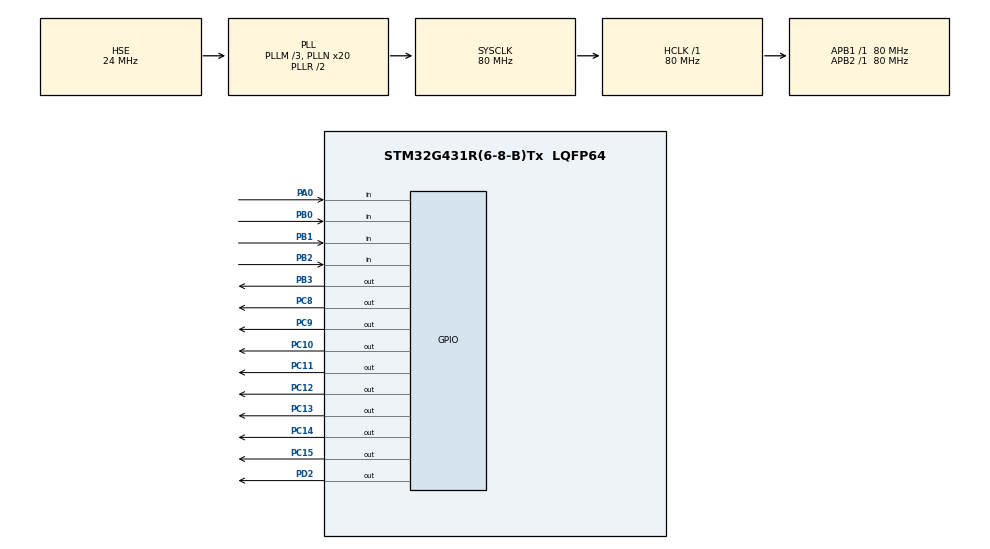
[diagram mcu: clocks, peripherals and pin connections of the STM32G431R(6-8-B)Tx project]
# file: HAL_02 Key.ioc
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Mcu.Family=STM32G4
Mcu.Name=STM32G431R(6-8-B)Tx
Mcu.Package=LQFP64
NVIC.PriorityGroup=NVIC_PRIORITYGROUP_4
PA0.Signal=GPIO_Input
PA13.Mode=Serial_Wire
PA13.Signal=SYS_JTMS-SWDIO
PA14.Mode=Serial_Wire
PA14.Signal=SYS_JTCK-SWCLK
PB0.Signal=GPIO_Input
PB1.Signal=GPIO_Input
PB2.Signal=GPIO_Input
PB3.PinState=GPIO_PIN_SET
PB3.Signal=GPIO_Output
PC10.PinState=GPIO_PIN_SET
PC10.Signal=GPIO_Output
PC11.PinState=GPIO_PIN_SET
PC11.Signal=GPIO_Output
PC12.PinState=GPIO_PIN_SET
PC12.Signal=GPIO_Output
PC13.PinState=GPIO_PIN_SET
PC13.Signal=GPIO_Output
PC14-OSC32_IN.PinState=GPIO_PIN_SET
PC14-OSC32_IN.Signal=GPIO_Output
PC15-OSC32_OUT.PinState=GPIO_PIN_SET
PC15-OSC32_OUT.Signal=GPIO_Output
PC8.PinState=GPIO_PIN_SET
PC8.Signal=GPIO_Output
PC9.PinState=GPIO_PIN_SET
PC9.Signal=GPIO_Output
PD2.Signal=GPIO_Output
PF0-OSC_IN.Mode=HSE-External-Oscillator
PF0-OSC_IN.Signal=RCC_OSC_IN
PF1-OSC_OUT.Mode=HSE-External-Oscillator
PF1-OSC_OUT.Signal=RCC_OSC_OUT
ProjectManager.HeapSize=0x200
ProjectManager.StackSize=0x400
ProjectManager.TargetToolchain=MDK-ARM V5.27
RCC.ADC12Freq_Value=80000000
RCC.AHBFreq_Value=80000000
RCC.APB1Freq_Value=80000000
RCC.APB1TimFreq_Value=80000000
RCC.APB2Freq_Value=80000000
RCC.APB2TimFreq_Value=80000000
RCC.CortexFreq_Value=80000000
RCC.EXTERNAL_CLOCK_VALUE=12288000
RCC.HCLKFreq_Value=80000000
RCC.HSE_VALUE=24000000
RCC.HSI48_VALUE=48000000
RCC.HSI_VALUE=16000000
RCC.LSE_VALUE=32768
RCC.PLLM=RCC_PLLM_DIV3
RCC.PLLN=20
RCC.PLLSourceVirtual=RCC_PLLSOURCE_HSE
RCC.SYSCLKFreq_VALUE=80000000
RCC.SYSCLKSource=RCC_SYSCLKSOURCE_PLLCLK
RCC.USBFreq_Value=80000000
RCC.VCOOutputFreq_Value=160000000
VP_SYS_VS_DBSignals.Mode=DisableDeadBatterySignals
board=custom

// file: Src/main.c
/* USER CODE BEGIN Header */
/**
  ******************************************************************************
  * @file           : main.c
  * @brief          : Main program body
  ******************************************************************************
  * @attention
  *
  * <h2><center>&copy; Copyright (c) 2024 STMicroelectronics.
  * All rights reserved.</center></h2>
  *
  * This software component is licensed by ST under BSD 3-Clause license,
  * the "License"; You may not use this file except in compliance with the
  * License. You may obtain a copy of the License at:
  *                        opensource.org/licenses/BSD-3-Clause
  *
  ******************************************************************************
  */
/* USER CODE END Header */

#include "main.h"
#include "gpio.h"

/* USER CODE BEGIN PTD */
typedef enum
{
	Key_Check,
	Key_Press,
	Key_Release,
	Key_Over,
}Key_State;//枚举一个类型，该类型的变量只能在括号中取值
/* USER CODE END PTD */

/* USER CODE BEGIN PD */
#define BUZZ_ON  HAL_GPIO_WritePin(GPIOB, GPIO_PIN_3, GPIO_PIN_RESET);
#define BUZZ_OFF HAL_GPIO_WritePin(GPIOB, GPIO_PIN_3, GPIO_PIN_SET);
#define LED1_ON  HAL_GPIO_WritePin(GPIOC, GPIO_PIN_15, GPIO_PIN_RESET);
#define LED1_OFF HAL_GPIO_WritePin(GPIOC, GPIO_PIN_15, GPIO_PIN_SET);

#define B1       HAL_GPIO_ReadPin(GPIOB, GPIO_PIN_0)
#define B2		 HAL_GPIO_ReadPin(GPIOB, GPIO_PIN_1)
#define B3       HAL_GPIO_ReadPin(GPIOB, GPIO_PIN_2)
#define B4 		 HAL_GPIO_ReadPin(GPIOA, GPIO_PIN_0)
/* USER CODE END PD */

/* USER CODE BEGIN PV */
uint8_t KeyNum;
Key_State KeyState = Key_Check;//给按键状态设置初始值
uint32_t Key_Press_Time = 20;//记录按压时间，单位ms
/* USER CODE END PV */

void SystemClock_Config(void);
/* USER CODE BEGIN PFP */
void Key_Scan(void);

/* USER CODE END PFP */

/* USER CODE BEGIN 0 */
uint8_t Key(void)//短按检测
{
	uint8_t KeyNum = 0;
	if(B4 == GPIO_PIN_RESET)//按键4按下
	{	//松手检测模板
//		HAL_Delay(10);//消抖
//		while(B4 == GPIO_PIN_RESET);
//		KeyNum = 4;

		HAL_Delay(10);//按下检测模板
		while(B4 == GPIO_PIN_RESET)KeyNum = 4;
		while(!B4);//等待松手
	}
	if(B1 == GPIO_PIN_RESET)//按键1按下
	{
		HAL_Delay(10);
		while(B1 == GPIO_PIN_RESET);
		KeyNum = 1;
	}
	if(B2 == GPIO_PIN_RESET)//按键2按下
	{
		HAL_Delay(10);
		while(B2 == GPIO_PIN_RESET);
		KeyNum = 2;
	}
	if(B3 == GPIO_PIN_RESET)//按键3按下
	{
		HAL_Delay(10);
		while(B3 == GPIO_PIN_RESET);
		KeyNum = 3;
	}
	return KeyNum;
}

/* USER CODE END 0 */

int main(void)
{

  /* MCU Configuration--------------------------------------------------------*/

  /* Reset of all peripherals, Initializes the Flash interface and the Systick. */
  HAL_Init();

  /* Configure the system clock */
  SystemClock_Config();

  /* Initialize all configured peripherals */
  MX_GPIO_Init();

  /* Infinite loop */
  /* USER CODE BEGIN WHILE */
  while (1)
  {
	  if(KeyState == Key_Over)//只有松手后，即按压时间记录结束，该标志位才会置一，即为松手执行功能，带长按时间检测
	  {
		  KeyState = Key_Check;//保证以下程序只在刚按下时执行一次
		  if(KeyNum == 1 && Key_Press_Time > 1200){BUZZ_ON;}
		  else if(KeyNum == 1 && Key_Press_Time <1100){BUZZ_OFF;}
		  else if(KeyNum == 2){BUZZ_OFF;}
		  else if(KeyNum == 3)
		  {
			LED1_ON;
			HAL_GPIO_WritePin(GPIOD, GPIO_PIN_2, GPIO_PIN_SET);
			HAL_GPIO_WritePin(GPIOD, GPIO_PIN_2, GPIO_PIN_RESET);
		  }
		  else if(KeyNum == 4){LED1_OFF;}
		  Key_Press_Time = 20;//按压时间“清零”，方便下次按压时计时
	  }

    /* USER CODE END WHILE */

  }
}

void SystemClock_Config(void)
{
  RCC_OscInitTypeDef RCC_OscInitStruct = {0};
  RCC_ClkInitTypeDef RCC_ClkInitStruct = {0};

  /** Configure the main internal regulator output voltage
  */
  HAL_PWREx_ControlVoltageScaling(PWR_REGULATOR_VOLTAGE_SCALE1);
  /** Initializes the CPU, AHB and APB busses clocks
  */
  RCC_OscInitStruct.OscillatorType = RCC_OSCILLATORTYPE_HSE;
  RCC_OscInitStruct.HSEState = RCC_HSE_ON;
  RCC_OscInitStruct.PLL.PLLState = RCC_PLL_ON;
  RCC_OscInitStruct.PLL.PLLSource = RCC_PLLSOURCE_HSE;
  RCC_OscInitStruct.PLL.PLLM = RCC_PLLM_DIV3;
  RCC_OscInitStruct.PLL.PLLN = 20;
  RCC_OscInitStruct.PLL.PLLP = RCC_PLLP_DIV2;
  RCC_OscInitStruct.PLL.PLLQ = RCC_PLLQ_DIV2;
  RCC_OscInitStruct.PLL.PLLR = RCC_PLLR_DIV2;
  if (HAL_RCC_OscConfig(&RCC_OscInitStruct) != HAL_OK)
  {
    Error_Handler();
  }
  /** Initializes the CPU, AHB and APB busses clocks
  */
  RCC_ClkInitStruct.ClockType = RCC_CLOCKTYPE_HCLK|RCC_CLOCKTYPE_SYSCLK
                              |RCC_CLOCKTYPE_PCLK1|RCC_CLOCKTYPE_PCLK2;
  RCC_ClkInitStruct.SYSCLKSource = RCC_SYSCLKSOURCE_PLLCLK;
  RCC_ClkInitStruct.AHBCLKDivider = RCC_SYSCLK_DIV1;
  RCC_ClkInitStruct.APB1CLKDivider = RCC_HCLK_DIV1;
  RCC_ClkInitStruct.APB2CLKDivider = RCC_HCLK_DIV1;

  if (HAL_RCC_ClockConfig(&RCC_ClkInitStruct, FLASH_LATENCY_3) != HAL_OK)
  {
    Error_Handler();
  }
}

/* USER CODE BEGIN 4 */
void Key_Scan(void)
{
	switch(KeyState)
	{
		case Key_Check://平常状态
		{
			if(B1 == GPIO_PIN_RESET || B2 == GPIO_PIN_RESET || B3 == GPIO_PIN_RESET || B4 == GPIO_PIN_RESET)
			{
				KeyState = Key_Press;//在检测状态下，检测是否有按键按下，如果有，转换为按下状态
			}
		};
		break;
		case Key_Press://在按下状态下，判断具体是哪个按键按下，给予键值
		{
			if(B1 == GPIO_PIN_RESET)KeyNum = 1;
			else if(B2 == GPIO_PIN_RESET)KeyNum = 2;
			else if(B3 == GPIO_PIN_RESET)KeyNum = 3;
			else if(B4 == GPIO_PIN_RESET)KeyNum = 4;
			KeyState = Key_Release;//不管松没松手，直接进入“松手”状态
		};
		break;
		case Key_Release://在“松手”状态下，判断是否真的松手
		{
			if(B1 == GPIO_PIN_RESET || B2 == GPIO_PIN_RESET || B3 == GPIO_PIN_RESET || B4 == GPIO_PIN_RESET)
			{
				Key_Press_Time += 10;//过了10ms，发现还没松手，按压时间+10
			}
			else//真的松手了，判断为短按
			{
				KeyState = Key_Over;//此时为按下后松手的状态
			}
		};
		break;
		default:break;
	}
}
/* USER CODE END 4 */

void Error_Handler(void)
{
}

/************************ (C) COPYRIGHT STMicroelectronics *****END OF FILE****/
